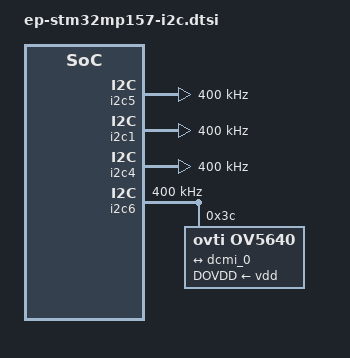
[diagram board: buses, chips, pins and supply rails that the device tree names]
// SPDX-License-Identifier: (GPL-2.0+ OR BSD-3-Clause)
/*
 * Copyright (C) STMicroelectronics 2017 - All Rights Reserved
 * Author: Ludovic Barre <ludovic.barre@st.com> for STMicroelectronics.
 */
#include <dt-bindings/pinctrl/stm32-pinfunc.h>
	
&i2c5 {
	pinctrl-names = "default";
	pinctrl-0 = <>;	
	i2c-scl-rising-time-ns = <185>;
	i2c-scl-falling-time-ns = <20>;
	clock-frequency = <400000>;
	/* spare dmas for other usage */
	/delete-property/dmas;
	/delete-property/dma-names;
	status = "okay";
};

&i2c1 {
	pinctrl-names = "default";
	pinctrl-0 = <>;	
	i2c-scl-rising-time-ns = <185>;
	i2c-scl-falling-time-ns = <20>;
	clock-frequency = <400000>;
	status = "okay";
	/delete-property/dmas;
	/delete-property/dma-names;
	
};

&i2c4 {
	pinctrl-names = "default";
	pinctrl-0 = <>;	
	i2c-scl-rising-time-ns = <185>;
	i2c-scl-falling-time-ns = <20>;
	clock-frequency = <400000>;
	status = "okay";
	/delete-property/dmas;
	/delete-property/dma-names;
	
};

&i2c6 {
	pinctrl-names = "default";
	pinctrl-0 = <>;		
	i2c-scl-rising-time-ns = <185>;
	i2c-scl-falling-time-ns = <20>;
	clock-frequency = <400000>;
	status = "okay";
	/delete-property/dmas;
	/delete-property/dma-names;
	
	ov5640: camera@3c {
		compatible = "ovti,ov5640";
		reg = <0x3c>;
		clocks = <&clk_ext_camera>;
		clock-names = "xclk";
		DOVDD-supply = <&vdd>;				
		status = "okay";

		port {
			ov5640_0: endpoint {
				remote-endpoint = <&dcmi_0>;
				bus-width = <8>;
				data-shift = <2>; /* lines 9:2 are used */
				hsync-active = <0>;
				vsync-active = <0>;
				pclk-sample = <1>;
			};
		};
	};
	
};

